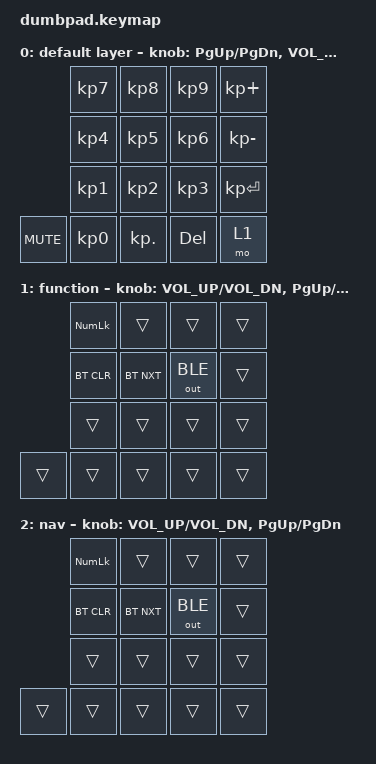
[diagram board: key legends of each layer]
/*
 * Copyright (c) 2021 The ZMK Contributors
 *
 * SPDX-License-Identifier: MIT
 */

#include <behaviors.dtsi>
#include <dt-bindings/zmk/keys.h>
#include <dt-bindings/zmk/bt.h>
#include <dt-bindings/zmk/outputs.h>

#define TIMEOUT 200
#define DEFAULT 0
#define ADJUST 1

&encoder_1 {
    status = "okay";
};

&encoder_2 {
    status = "okay";
};


/ {
    combos {
        compatible = "zmk,combos";
        combo_btclr {
            timeout-ms = <TIMEOUT>;
            key-positions = <1 6>;
            bindings = <&bt BT_CLR>;
        };
        combo_reset {
            timeout-ms = <TIMEOUT>;
            key-positions = <1 3>;
            bindings = <&reset>;
        };
        combo_bt_nxt {
            timeout-ms = <TIMEOUT>;
            key-positions = <1 4>;
            bindings = <&bt BT_NXT>;
        };
    };
    
    sensors {
        compatible = "zmk,keymap-sensors";
        sensors = <&encoder_1 &encoder_2>;
    };


    keymap0: keymap {
        compatible = "zmk,keymap";

        default_layer {
            label = "default layer";
            bindings = <
                                &kp KP_N7    &kp KP_N8       &kp KP_N9      &kp KP_PLUS   
                                &kp KP_N4    &kp KP_N5       &kp KP_N6      &kp KP_MINUS
                                &kp KP_N1    &kp KP_N2       &kp KP_N3      &kp KP_ENTER
                &kp C_MUTE      &kp KP_N0    &kp KP_DOT      &kp DEL        &mo 1
            >;
            sensor-bindings = <&inc_dec_kp PG_UP PG_DN &inc_dec_kp C_VOL_UP C_VOL_DN>;

        }; 
        
        fn_layer {
            label = " function";
            bindings = <
                            &kp KP_NUM  &trans        &trans          &trans     
                            &bt BT_CLR  &bt BT_NXT    &out OUT_BLE          &trans 
                            &trans      &trans        &trans          &trans
                &trans      &trans      &trans        &trans          &trans           
            >;  
            sensor-bindings = <&inc_dec_kp C_VOL_UP C_VOL_DN &inc_dec_kp PG_UP PG_DN>;
                
        };
		nav_layer {
            label = " nav";
            bindings = <
                            &kp KP_NUM  &trans        &trans          &trans     
                            &bt BT_CLR  &bt BT_NXT    &out OUT_BLE          &trans 
                            &trans      &trans        &trans          &trans
                &trans      &trans      &trans        &trans          &trans           
            >;  
            sensor-bindings = <&inc_dec_kp C_VOL_UP C_VOL_DN &inc_dec_kp PG_UP PG_DN>;
                
        };
    };
};
